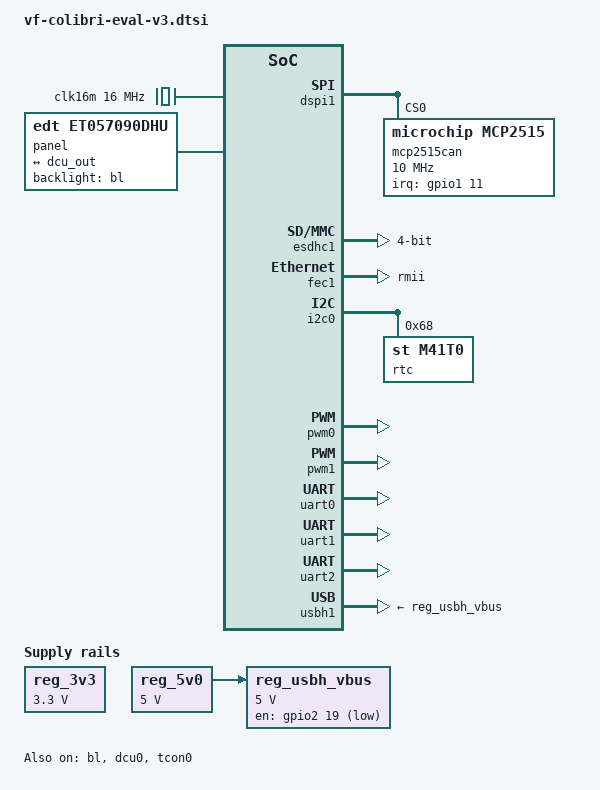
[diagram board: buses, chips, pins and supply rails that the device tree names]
/*
 * Copyright 2014 Toradex AG
 *
 * This file is dual-licensed: you can use it either under the terms
 * of the GPL or the X11 license, at your option. Note that this dual
 * licensing only applies to this file, and not this project as a
 * whole.
 *
 *  a) This file is free software; you can redistribute it and/or
 *     modify it under the terms of the GNU General Public License
 *     version 2 as published by the Free Software Foundation.
 *
 *     This file is distributed in the hope that it will be useful,
 *     but WITHOUT ANY WARRANTY; without even the implied warranty of
 *     MERCHANTABILITY or FITNESS FOR A PARTICULAR PURPOSE.  See the
 *     GNU General Public License for more details.
 *
 * Or, alternatively,
 *
 *  b) Permission is hereby granted, free of charge, to any person
 *     obtaining a copy of this software and associated documentation
 *     files (the "Software"), to deal in the Software without
 *     restriction, including without limitation the rights to use,
 *     copy, modify, merge, publish, distribute, sublicense, and/or
 *     sell copies of the Software, and to permit persons to whom the
 *     Software is furnished to do so, subject to the following
 *     conditions:
 *
 *     The above copyright notice and this permission notice shall be
 *     included in all copies or substantial portions of the Software.
 *
 *     THE SOFTWARE IS PROVIDED "AS IS", WITHOUT WARRANTY OF ANY KIND,
 *     EXPRESS OR IMPLIED, INCLUDING BUT NOT LIMITED TO THE WARRANTIES
 *     OF MERCHANTABILITY, FITNESS FOR A PARTICULAR PURPOSE AND
 *     NONINFRINGEMENT. IN NO EVENT SHALL THE AUTHORS OR COPYRIGHT
 *     HOLDERS BE LIABLE FOR ANY CLAIM, DAMAGES OR OTHER LIABILITY,
 *     WHETHER IN AN ACTION OF CONTRACT, TORT OR OTHERWISE, ARISING
 *     FROM, OUT OF OR IN CONNECTION WITH THE SOFTWARE OR THE USE OR
 *     OTHER DEALINGS IN THE SOFTWARE.
 */

/ {
	chosen {
		stdout-path = "serial0:115200n8";
	};

	clk16m: clk16m {
		compatible = "fixed-clock";
		#clock-cells = <0>;
		clock-frequency = <16000000>;
	};

	panel: panel {
		compatible = "edt,et057090dhu";
		backlight = <&bl>;

		port {
			panel_in: endpoint {
				remote-endpoint = <&dcu_out>;
			};
		};
	};

	reg_3v3: regulator-3v3 {
		compatible = "regulator-fixed";
		regulator-name = "3.3V";
		regulator-min-microvolt = <3300000>;
		regulator-max-microvolt = <3300000>;
	};

	reg_5v0: regulator-5v0 {
		compatible = "regulator-fixed";
		regulator-name = "5V";
		regulator-min-microvolt = <5000000>;
		regulator-max-microvolt = <5000000>;
	};

	reg_usbh_vbus: regulator-usbh-vbus {
		compatible = "regulator-fixed";
		pinctrl-names = "default";
		pinctrl-0 = <&pinctrl_usbh1_reg>;
		regulator-name = "VCC_USB[1-4]";
		regulator-min-microvolt = <5000000>;
		regulator-max-microvolt = <5000000>;
		gpio = <&gpio2 19 GPIO_ACTIVE_LOW>; /* USBH_PEN resp. USBH_P_EN */
		vin-supply = <&reg_5v0>;
	};
};

&bl {
	brightness-levels = <0 4 8 16 32 64 128 255>;
	default-brightness-level = <6>;
	power-supply = <&reg_3v3>;
	status  = "okay";
};

&dcu0 {
	pinctrl-names = "default";
	pinctrl-0 = <&pinctrl_dcu0_1>;
	status = "okay";

	port {
		dcu_out: endpoint {
			remote-endpoint = <&panel_in>;
		};
	};
};

&dspi1 {
	status = "okay";

	mcp2515can: can@0 {
		compatible = "microchip,mcp2515";
		pinctrl-names = "default";
		pinctrl-0 = <&pinctrl_can_int>;
		reg = <0>;
		clocks = <&clk16m>;
		spi-max-frequency = <10000000>;
		interrupt-parent = <&gpio1>;
		interrupts = <11 GPIO_ACTIVE_LOW>;
	};
};

&esdhc1 {
	pinctrl-names = "default";
	pinctrl-0 = <&pinctrl_esdhc1>;
	bus-width = <4>;
	status = "okay";
};

&fec1 {
	phy-mode = "rmii";
	pinctrl-names = "default";
	pinctrl-0 = <&pinctrl_fec1>;
	status = "okay";
};

&i2c0 {
	status = "okay";

	/* M41T0M6 real time clock on carrier board */
	rtc: m41t0m6@68 {
		compatible = "st,m41t0";
		reg = <0x68>;
	};
};

&pwm0 {
	status = "okay";
};

&pwm1 {
	status = "okay";
};

&reg_module_3v3 {
	vin-supply = <&reg_3v3>;
};

&tcon0 {
	status = "okay";
};

&uart0 {
	status = "okay";
};

&uart1 {
	status = "okay";
};

&uart2 {
	status = "okay";
};

&usbh1 {
	vbus-supply = <&reg_usbh_vbus>;
};

&iomuxc {
	vf610-colibri {
		pinctrl_can_int: can_int {
			fsl,pins = <
				VF610_PAD_PTB21__GPIO_43	0x22ed
			>;
		};
	};
};
